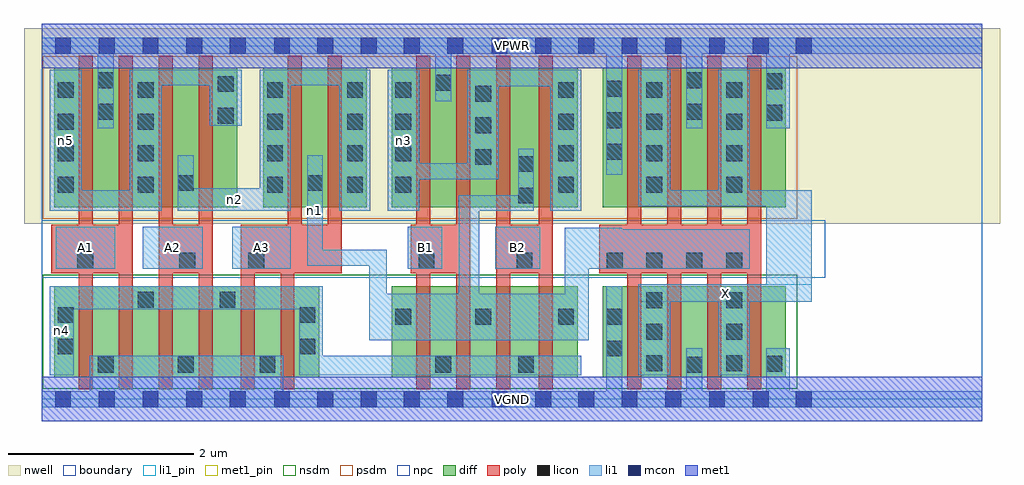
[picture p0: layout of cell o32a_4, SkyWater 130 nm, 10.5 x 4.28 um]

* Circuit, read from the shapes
.subckt o32a_4 A1 A2 A3 B1 B2 VGND VPWR X n1 n2 n3 n4 n5
XM1 VGND A1 n4 VSUBS sky130_fd_pr__nfet_01v8 w=0.98 l=0.15 m=2
XM2 VGND A2 n4 VSUBS sky130_fd_pr__nfet_01v8 w=0.98 l=0.15 m=2
XM3 VGND A3 n4 VSUBS sky130_fd_pr__nfet_01v8 w=0.98 l=0.15 m=2
XM4 n4 B1 n1 VSUBS sky130_fd_pr__nfet_01v8 w=0.98 l=0.15 m=2
XM5 n4 B2 n1 VSUBS sky130_fd_pr__nfet_01v8 w=0.98 l=0.15 m=2
XM6 X n1 VGND VSUBS sky130_fd_pr__nfet_01v8 w=0.98 l=0.15 m=4
XM7 VPWR A1 n5 n6 sky130_fd_pr__pfet_01v8 w=1.5 l=0.15 m=2
XM8 n2 A2 n5 n6 sky130_fd_pr__pfet_01v8 w=1.5 l=0.15 m=2
XM9 n1 A3 n2 n6 sky130_fd_pr__pfet_01v8 w=1.5 l=0.15 m=2
XM10 VPWR B1 n3 n6 sky130_fd_pr__pfet_01v8 w=1.5 l=0.15 m=2
XM11 n1 B2 n3 n6 sky130_fd_pr__pfet_01v8 w=1.5 l=0.15 m=2
XM12 X n1 VPWR n6 sky130_fd_pr__pfet_01v8 w=1.5 l=0.15 m=4
.ends

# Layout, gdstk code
import gdstk
lib = gdstk.Library(unit=1e-6, precision=1e-09)
def R(c, l, rs):  # rectangles x0, y0, x1, y1
    for r in rs: c.add(gdstk.rectangle(r[:2], r[2:], *l))
def A(c, l, x, y, w, h, nx, ny, dx, dy):  # array of equal rectangles
    R(c, l, [(x+i*dx, y+j*dy, x+i*dx+w, y+j*dy+h) for i in range(nx) for j in range(ny)])
nwell = (64, 20)
diff = (65, 20)
poly = (66, 20)
licon = (66, 44)
li1_pin = (67, 16)
li1 = (67, 20)
mcon = (67, 44)
met1_pin = (68, 16)
met1 = (68, 20)
nsdm = (93, 44)
psdm = (94, 20)
npc = (95, 20)
boundary = (235, 4)

o32a_4 = lib.new_cell('o32a_4')
R(o32a_4, nwell, [(-0.19,1.885,10.31,3.99), (0,1.885,10.12,3.99)])
R(o32a_4, diff, [(0.135,0.235,2.985,1.215), (3.765,0.235,5.765,1.215), (6.035,0.235,8.005,1.215), (0.135,2.065,2.105,3.565), (2.385,2.065,3.495,3.565), (3.765,2.065,5.765,3.565), (6.035,2.065,8.005,3.565)])
A(o32a_4, poly, 0.4, 0.105, 0.15, 3.59, 4, 1, 0.43, 0)
A(o32a_4, poly, 4.03, 0.105, 0.15, 3.59, 3, 1, 0.43, 0)
A(o32a_4, poly, 6.3, 0.105, 0.15, 3.59, 4, 1, 0.43, 0)
R(o32a_4, poly, [(2.14,0.105,2.29,1.875), (2.57,0.105,2.72,1.875), (5.35,0.105,5.5,3.695), (0.105,1.355,0.98,1.875), (1.26,1.355,1.84,1.875), (2.14,1.355,3.23,1.875), (2.65,1.355,2.8,3.695), (3.08,1.355,3.23,3.695), (3.97,1.355,4.61,1.875), (4.89,1.355,5.5,1.875), (6,1.355,7.74,1.875)])
A(o32a_4, licon, 6.505, 0.3, 0.17, 0.17, 1, 3, 0, 0.34)
A(o32a_4, licon, 7.365, 0.3, 0.17, 0.17, 1, 3, 0, 0.34)
A(o32a_4, licon, 6.505, 1.405, 0.17, 0.17, 3, 1, 0.43, 0)
A(o32a_4, licon, 0.175, 2.22, 0.17, 0.17, 1, 4, 0, 0.34)
A(o32a_4, licon, 1.035, 2.22, 0.17, 0.17, 1, 4, 0, 0.34)
A(o32a_4, licon, 2.425, 2.22, 0.17, 0.17, 1, 4, 0, 0.34)
A(o32a_4, licon, 3.285, 2.22, 0.17, 0.17, 1, 4, 0, 0.34)
A(o32a_4, licon, 3.805, 2.22, 0.17, 0.17, 1, 4, 0, 0.34)
A(o32a_4, licon, 5.555, 2.22, 0.17, 0.17, 1, 4, 0, 0.34)
A(o32a_4, licon, 6.505, 2.22, 0.17, 0.17, 1, 4, 0, 0.34)
A(o32a_4, licon, 7.365, 2.22, 0.17, 0.17, 1, 4, 0, 0.34)
A(o32a_4, licon, 4.665, 2.52, 0.17, 0.17, 1, 3, 0, 0.34)
A(o32a_4, licon, 6.075, 2.575, 0.17, 0.17, 1, 3, 0, 0.34)
R(o32a_4, licon, [(0.605,0.285,0.775,0.455), (1.465,0.285,1.635,0.455), (2.345,0.285,2.515,0.455), (4.235,0.285,4.405,0.455), (5.125,0.285,5.295,0.455), (6.935,0.285,7.105,0.455), (7.795,0.295,7.965,0.465), (6.075,0.46,6.245,0.63), (0.175,0.48,0.345,0.65), (2.775,0.48,2.945,0.65), (3.805,0.8,3.975,0.97), (4.665,0.8,4.835,0.97), (5.555,0.8,5.725,0.97), (6.075,0.8,6.245,0.97), (0.175,0.82,0.345,0.99), (2.775,0.82,2.945,0.99), (1.035,0.985,1.205,1.155), (1.915,0.985,2.085,1.155), (0.385,1.405,0.555,1.575), (1.48,1.405,1.65,1.575), (2.225,1.405,2.395,1.575), (4.055,1.405,4.225,1.575), (5.11,1.405,5.28,1.575), (6.08,1.405,6.25,1.575), (5.125,2.105,5.295,2.275), (1.465,2.24,1.635,2.41), (2.855,2.24,3.025,2.41), (5.125,2.445,5.295,2.615), (1.895,2.965,2.065,3.135), (7.795,2.995,7.965,3.165), (0.605,3.005,0.775,3.175), (6.935,3.005,7.105,3.175), (1.895,3.305,2.065,3.475), (4.235,3.32,4.405,3.49), (7.795,3.335,7.965,3.505), (0.605,3.345,0.775,3.515), (6.935,3.345,7.105,3.515)])
R(o32a_4, li1_pin, [(6.42,1.045,8.285,1.235), (0.15,1.405,0.79,1.855), (1.09,1.405,1.735,1.855), (2.05,1.405,2.68,1.855), (3.94,1.405,4.31,1.855), (4.88,1.405,5.365,1.855)])
R(o32a_4, li1, [(0,-0.085,10.12,0.085), (0.52,-0.085,2.6,0.465), (6.075,-0.085,6.245,1.215), (6.935,-0.085,7.105,0.545), (7.795,-0.085,8.05,0.545), (0.085,0.255,0.345,1.215), (2.77,0.255,5.805,0.465), (2.77,0.255,3.025,1.215), (6.42,0.255,6.76,1.235), (7.28,0.255,7.62,1.235), (3.525,0.635,5.885,1.135), (3.525,0.635,3.715,1.605), (4.485,0.635,4.71,2.195), (5.63,0.635,5.885,1.845), (0.085,0.965,3.025,1.215), (6.42,1.045,8.285,1.235), (7.795,1.045,8.285,2.245), (0.15,1.405,0.79,1.855), (1.09,1.405,1.735,1.855), (2.05,1.405,2.68,1.855), (3.94,1.405,4.31,1.855), (4.88,1.405,5.365,1.855), (5.63,1.405,7.62,1.825), (5.63,1.405,6.245,1.845), (2.855,1.435,3.025,2.625), (2.855,1.435,3.715,1.605), (0.085,2.025,0.43,3.545), (0.085,2.025,1.29,2.245), (0.95,2.025,1.29,3.545), (1.465,2.025,2.68,2.27), (1.465,2.025,1.635,2.625), (2.345,2.025,2.68,3.545), (3.2,2.025,3.535,3.545), (3.725,2.025,4.06,3.545), (4.485,2.025,5.295,2.195), (5.125,2.025,5.295,2.695), (5.47,2.025,5.805,3.545), (6.42,2.075,6.76,3.545), (6.42,2.075,8.285,2.245), (7.28,2.075,7.62,3.545), (3.725,2.365,4.92,2.535), (4.58,2.365,4.92,3.545), (6.075,2.415,6.245,3.885), (0.605,2.915,0.775,3.885), (6.935,2.915,7.105,3.885), (7.795,2.915,8.05,3.885), (1.81,2.94,2.15,3.545), (4.235,3.205,4.405,3.885), (4.58,3.365,5.805,3.545), (0.95,3.375,2.15,3.545), (2.345,3.375,3.535,3.545), (0,3.715,10.12,3.885)])
A(o32a_4, mcon, 0.145, -0.085, 0.17, 0.17, 5, 2, 0.47, 3.8)
A(o32a_4, mcon, 5.31, -0.085, 0.17, 0.17, 3, 2, 0.465, 3.8)
A(o32a_4, mcon, 6.71, -0.085, 0.17, 0.17, 3, 2, 0.47, 3.8)
R(o32a_4, mcon, [(2.5,-0.085,2.67,0.085), (2.965,-0.085,3.135,0.085), (3.435,-0.085,3.605,0.085), (3.895,-0.085,4.065,0.085), (4.365,-0.085,4.535,0.085), (4.84,-0.085,5.01,0.085), (8.115,-0.085,8.285,0.085), (2.5,3.715,2.67,3.885), (2.965,3.715,3.135,3.885), (3.435,3.715,3.605,3.885), (3.895,3.715,4.065,3.885), (4.365,3.715,4.535,3.885), (4.84,3.715,5.01,3.885), (8.115,3.715,8.285,3.885)])
R(o32a_4, met1_pin, [(0,-0.24,10.12,0.24), (0,3.56,10.12,4.04)])
R(o32a_4, met1, [(0,-0.24,10.12,0.24), (0,3.56,10.12,4.04)])
R(o32a_4, nsdm, [(0.01,0.11,8.13,1.34)])
R(o32a_4, psdm, [(0.01,1.94,8.13,3.69)])
R(o32a_4, npc, [(0,1.305,8.43,1.925)])
R(o32a_4, boundary, [(0,0,10.12,3.8)])
o32a_4.add(gdstk.Label('A1', (0.47,1.63), layer=67, texttype=5))
o32a_4.add(gdstk.Label('A2', (1.412,1.63), layer=67, texttype=5))
o32a_4.add(gdstk.Label('A3', (2.365,1.63), layer=67, texttype=5))
o32a_4.add(gdstk.Label('B1', (4.125,1.63), layer=67, texttype=5))
o32a_4.add(gdstk.Label('B2', (5.122,1.63), layer=67, texttype=5))
o32a_4.add(gdstk.Label('X', (7.352,1.14), layer=67, texttype=5))
o32a_4.add(gdstk.Label('n4', (0.215,0.735), layer=67, texttype=5))
o32a_4.add(gdstk.Label('n1', (2.94,2.03), layer=67, texttype=5))
o32a_4.add(gdstk.Label('n5', (0.257,2.785), layer=67, texttype=5))
o32a_4.add(gdstk.Label('n2', (2.072,2.147), layer=67, texttype=5))
o32a_4.add(gdstk.Label('n3', (3.892,2.785), layer=67, texttype=5))
o32a_4.add(gdstk.Label('VPWR', (5.06,3.8), layer=68, texttype=5))
o32a_4.add(gdstk.Label('VGND', (5.06,0), layer=68, texttype=5))
o32a_4.add(gdstk.Label('A1', (0.47,1.63), layer=67, texttype=16))
o32a_4.add(gdstk.Label('A2', (1.412,1.63), layer=67, texttype=16))
o32a_4.add(gdstk.Label('A3', (2.365,1.63), layer=67, texttype=16))
o32a_4.add(gdstk.Label('B1', (4.125,1.63), layer=67, texttype=16))
o32a_4.add(gdstk.Label('B2', (5.122,1.63), layer=67, texttype=16))
o32a_4.add(gdstk.Label('X', (7.352,1.14), layer=67, texttype=16))
o32a_4.add(gdstk.Label('VPWR', (5.06,3.8), layer=68, texttype=16))
o32a_4.add(gdstk.Label('VGND', (5.06,0), layer=68, texttype=16))

lib.write_gds('o32a_4.gds')
